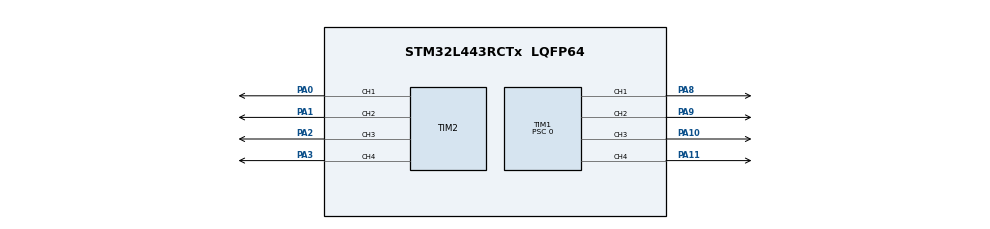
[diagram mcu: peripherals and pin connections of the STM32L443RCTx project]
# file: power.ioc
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Mcu.Family=STM32L4
Mcu.Name=STM32L443RCTx
Mcu.Package=LQFP64
NVIC.PriorityGroup=NVIC_PRIORITYGROUP_4
PA0.Signal=S_TIM2_CH1
PA1.Signal=S_TIM2_CH2
PA10.Signal=S_TIM1_CH3
PA11.Signal=S_TIM1_CH4
PA2.Signal=S_TIM2_CH3
PA3.Signal=S_TIM2_CH4
PA8.Signal=S_TIM1_CH1
PA9.Signal=S_TIM1_CH2
ProjectManager.HeapSize=0x200
ProjectManager.StackSize=0x400
ProjectManager.TargetToolchain=STM32CubeIDE
RCC.HSE_VALUE=8000000
RCC.HSI48_VALUE=48000000
RCC.HSI_VALUE=16000000
RCC.LSE_VALUE=32768
RCC.MSI_VALUE=4000000
RCC.VCOOutputFreq_Value=32000000
SH.S_TIM1_CH1.0=TIM1_CH1,PWM Generation1 CH1
SH.S_TIM1_CH2.0=TIM1_CH2,PWM Generation2 CH2
SH.S_TIM1_CH3.0=TIM1_CH3,PWM Generation3 CH3
SH.S_TIM1_CH4.0=TIM1_CH4,PWM Generation4 CH4
SH.S_TIM2_CH1.0=TIM2_CH1,PWM Generation1 CH1
SH.S_TIM2_CH2.0=TIM2_CH2,PWM Generation2 CH2
SH.S_TIM2_CH3.0=TIM2_CH3,PWM Generation3 CH3
SH.S_TIM2_CH4.0=TIM2_CH4,PWM Generation4 CH4
TIM1.Channel-PWM\ Generation1\ CH1=TIM_CHANNEL_1
TIM1.Channel-PWM\ Generation2\ CH2=TIM_CHANNEL_2
TIM1.Channel-PWM\ Generation3\ CH3=TIM_CHANNEL_3
TIM1.Channel-PWM\ Generation4\ CH4=TIM_CHANNEL_4
TIM1.Prescaler=0
TIM2.Channel-PWM\ Generation1\ CH1=TIM_CHANNEL_1
TIM2.Channel-PWM\ Generation2\ CH2=TIM_CHANNEL_2
TIM2.Channel-PWM\ Generation3\ CH3=TIM_CHANNEL_3
TIM2.Channel-PWM\ Generation4\ CH4=TIM_CHANNEL_4
VP_TIM1_VS_ClockSourceINT.Mode=Internal
VP_TIM2_VS_ClockSourceINT.Mode=Internal
board=custom

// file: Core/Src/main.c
/* USER CODE BEGIN Header */
/**
  ******************************************************************************
  * @file           : main.c
  * @brief          : Main program body
  ******************************************************************************
  * @attention
  *
  * Copyright (c) 2024 STMicroelectronics.
  * All rights reserved.
  *
  * This software is licensed under terms that can be found in the LICENSE file
  * in the root directory of this software component.
  * If no LICENSE file comes with this software, it is provided AS-IS.
  *
  ******************************************************************************
  */
/* USER CODE END Header */
#include "main.h"

TIM_HandleTypeDef htim1;
TIM_HandleTypeDef htim2;

void SystemClock_Config(void);
static void MX_GPIO_Init(void);
static void MX_TIM1_Init(void);
static void MX_TIM2_Init(void);

/* USER CODE BEGIN 0 */
#define PWM_NEUTRAL_US 1500

uint32_t PWM_CalculatePulseWidth(uint32_t timerPeriod, uint32_t pulseWidth_us, uint32_t timerClockFreq)
{
    uint32_t pwmValue = (pulseWidth_us * (timerPeriod + 1)) / (1000000 / timerClockFreq);
    return pwmValue;
}
/* USER CODE END 0 */

int main(void)
{

  /* MCU Configuration--------------------------------------------------------*/

  /* Reset of all peripherals, Initializes the Flash interface and the Systick. */
  HAL_Init();

  /* Configure the system clock */
  SystemClock_Config();

  /* Initialize all configured peripherals */
  MX_GPIO_Init();
  MX_TIM1_Init();
  MX_TIM2_Init();
  /* USER CODE BEGIN 2 */
  HAL_TIM_PWM_Start(&htim1, TIM_CHANNEL_1);
  HAL_TIM_PWM_Start(&htim1, TIM_CHANNEL_2);
  HAL_TIM_PWM_Start(&htim1, TIM_CHANNEL_3);
  HAL_TIM_PWM_Start(&htim1, TIM_CHANNEL_4);
  HAL_TIM_PWM_Start(&htim2, TIM_CHANNEL_1);
  HAL_TIM_PWM_Start(&htim2, TIM_CHANNEL_2);
  HAL_TIM_PWM_Start(&htim2, TIM_CHANNEL_3);
  HAL_TIM_PWM_Start(&htim2, TIM_CHANNEL_4);

  uint32_t pwmValue1 = PWM_CalculatePulseWidth(htim1.Init.Period, PWM_NEUTRAL_US, 1);
  uint32_t pwmValue2 = PWM_CalculatePulseWidth(htim1.Init.Period, PWM_NEUTRAL_US, 1);
  uint32_t pwmValue3 = PWM_CalculatePulseWidth(htim1.Init.Period, PWM_NEUTRAL_US, 1);
  uint32_t pwmValue4 = PWM_CalculatePulseWidth(htim1.Init.Period, PWM_NEUTRAL_US, 1);
  uint32_t pwmValue5 = PWM_CalculatePulseWidth(htim2.Init.Period, PWM_NEUTRAL_US, 1);
  uint32_t pwmValue6 = PWM_CalculatePulseWidth(htim2.Init.Period, PWM_NEUTRAL_US, 1);
  uint32_t pwmValue7 = PWM_CalculatePulseWidth(htim2.Init.Period, PWM_NEUTRAL_US, 1);
  uint32_t pwmValue8 = PWM_CalculatePulseWidth(htim2.Init.Period, PWM_NEUTRAL_US, 1);

  __HAL_TIM_SET_COMPARE(&htim1, TIM_CHANNEL_1, pwmValue1);
  __HAL_TIM_SET_COMPARE(&htim1, TIM_CHANNEL_2, pwmValue2);
  __HAL_TIM_SET_COMPARE(&htim1, TIM_CHANNEL_3, pwmValue3);
  __HAL_TIM_SET_COMPARE(&htim1, TIM_CHANNEL_4, pwmValue4);
  __HAL_TIM_SET_COMPARE(&htim2, TIM_CHANNEL_1, pwmValue5);
  __HAL_TIM_SET_COMPARE(&htim2, TIM_CHANNEL_2, pwmValue6);
  __HAL_TIM_SET_COMPARE(&htim2, TIM_CHANNEL_3, pwmValue7);
  __HAL_TIM_SET_COMPARE(&htim2, TIM_CHANNEL_4, pwmValue8);

  HAL_Delay(7000);
  /* USER CODE END 2 */

  /* Infinite loop */
  /* USER CODE BEGIN WHILE */
  while (1)
  {
	  pwmValue1 = PWM_CalculatePulseWidth(htim1.Init.Period, 1540, 1);
	  pwmValue2 = PWM_CalculatePulseWidth(htim1.Init.Period, 1540, 1);
	  pwmValue3 = PWM_CalculatePulseWidth(htim1.Init.Period, 1540, 1);
	  pwmValue4 = PWM_CalculatePulseWidth(htim1.Init.Period, 1540, 1);
	  pwmValue5 = PWM_CalculatePulseWidth(htim2.Init.Period, 1540, 1);
	  pwmValue6 = PWM_CalculatePulseWidth(htim2.Init.Period, 1540, 1);
	  pwmValue7 = PWM_CalculatePulseWidth(htim2.Init.Period, 1540, 1);
	  pwmValue8 = PWM_CalculatePulseWidth(htim2.Init.Period, 1540, 1);

	  __HAL_TIM_SET_COMPARE(&htim1, TIM_CHANNEL_1, pwmValue1);
	  __HAL_TIM_SET_COMPARE(&htim1, TIM_CHANNEL_2, pwmValue2);
	  __HAL_TIM_SET_COMPARE(&htim1, TIM_CHANNEL_3, pwmValue3);
	  __HAL_TIM_SET_COMPARE(&htim1, TIM_CHANNEL_4, pwmValue4);
	  __HAL_TIM_SET_COMPARE(&htim2, TIM_CHANNEL_1, pwmValue5);
	  __HAL_TIM_SET_COMPARE(&htim2, TIM_CHANNEL_2, pwmValue6);
	  __HAL_TIM_SET_COMPARE(&htim2, TIM_CHANNEL_3, pwmValue7);
	  __HAL_TIM_SET_COMPARE(&htim2, TIM_CHANNEL_4, pwmValue8);

	  HAL_Delay(1500);

	  pwmValue1 = PWM_CalculatePulseWidth(htim1.Init.Period, 1500, 1);
	  pwmValue2 = PWM_CalculatePulseWidth(htim1.Init.Period, 1500, 1);
	  pwmValue3 = PWM_CalculatePulseWidth(htim1.Init.Period, 1500, 1);
	  pwmValue4 = PWM_CalculatePulseWidth(htim1.Init.Period, 1500, 1);
	  pwmValue5 = PWM_CalculatePulseWidth(htim2.Init.Period, 1500, 1);
	  pwmValue6 = PWM_CalculatePulseWidth(htim2.Init.Period, 1500, 1);
	  pwmValue7 = PWM_CalculatePulseWidth(htim2.Init.Period, 1500, 1);
	  pwmValue8 = PWM_CalculatePulseWidth(htim2.Init.Period, 1500, 1);

	  __HAL_TIM_SET_COMPARE(&htim1, TIM_CHANNEL_1, pwmValue1);
	  __HAL_TIM_SET_COMPARE(&htim1, TIM_CHANNEL_2, pwmValue2);
	  __HAL_TIM_SET_COMPARE(&htim1, TIM_CHANNEL_3, pwmValue3);
	  __HAL_TIM_SET_COMPARE(&htim1, TIM_CHANNEL_4, pwmValue4);
	  __HAL_TIM_SET_COMPARE(&htim2, TIM_CHANNEL_1, pwmValue5);
	  __HAL_TIM_SET_COMPARE(&htim2, TIM_CHANNEL_2, pwmValue6);
	  __HAL_TIM_SET_COMPARE(&htim2, TIM_CHANNEL_3, pwmValue7);
	  __HAL_TIM_SET_COMPARE(&htim2, TIM_CHANNEL_4, pwmValue8);

	  HAL_Delay(1500);

	  pwmValue1 = PWM_CalculatePulseWidth(htim1.Init.Period, 1460, 1);
	  pwmValue2 = PWM_CalculatePulseWidth(htim1.Init.Period, 1460, 1);
	  pwmValue3 = PWM_CalculatePulseWidth(htim1.Init.Period, 1460, 1);
	  pwmValue4 = PWM_CalculatePulseWidth(htim1.Init.Period, 1460, 1);
	  pwmValue5 = PWM_CalculatePulseWidth(htim2.Init.Period, 1460, 1);
	  pwmValue6 = PWM_CalculatePulseWidth(htim2.Init.Period, 1460, 1);
	  pwmValue7 = PWM_CalculatePulseWidth(htim2.Init.Period, 1460, 1);
	  pwmValue8 = PWM_CalculatePulseWidth(htim2.Init.Period, 1460, 1);

	  __HAL_TIM_SET_COMPARE(&htim1, TIM_CHANNEL_1, pwmValue1);
	  __HAL_TIM_SET_COMPARE(&htim1, TIM_CHANNEL_2, pwmValue2);
	  __HAL_TIM_SET_COMPARE(&htim1, TIM_CHANNEL_3, pwmValue3);
	  __HAL_TIM_SET_COMPARE(&htim1, TIM_CHANNEL_4, pwmValue4);
	  __HAL_TIM_SET_COMPARE(&htim2, TIM_CHANNEL_1, pwmValue5);
	  __HAL_TIM_SET_COMPARE(&htim2, TIM_CHANNEL_2, pwmValue6);
	  __HAL_TIM_SET_COMPARE(&htim2, TIM_CHANNEL_3, pwmValue7);
	  __HAL_TIM_SET_COMPARE(&htim2, TIM_CHANNEL_4, pwmValue8);

	  HAL_Delay(1500);

	  pwmValue1 = PWM_CalculatePulseWidth(htim1.Init.Period, 1500, 1);
	  pwmValue2 = PWM_CalculatePulseWidth(htim1.Init.Period, 1500, 1);
	  pwmValue3 = PWM_CalculatePulseWidth(htim1.Init.Period, 1500, 1);
	  pwmValue4 = PWM_CalculatePulseWidth(htim1.Init.Period, 1500, 1);
	  pwmValue5 = PWM_CalculatePulseWidth(htim2.Init.Period, 1500, 1);
	  pwmValue6 = PWM_CalculatePulseWidth(htim2.Init.Period, 1500, 1);
	  pwmValue7 = PWM_CalculatePulseWidth(htim2.Init.Period, 1500, 1);
	  pwmValue8 = PWM_CalculatePulseWidth(htim2.Init.Period, 1500, 1);

	  __HAL_TIM_SET_COMPARE(&htim1, TIM_CHANNEL_1, pwmValue1);
	  __HAL_TIM_SET_COMPARE(&htim1, TIM_CHANNEL_2, pwmValue2);
	  __HAL_TIM_SET_COMPARE(&htim1, TIM_CHANNEL_3, pwmValue3);
	  __HAL_TIM_SET_COMPARE(&htim1, TIM_CHANNEL_4, pwmValue4);
	  __HAL_TIM_SET_COMPARE(&htim2, TIM_CHANNEL_1, pwmValue5);
	  __HAL_TIM_SET_COMPARE(&htim2, TIM_CHANNEL_2, pwmValue6);
	  __HAL_TIM_SET_COMPARE(&htim2, TIM_CHANNEL_3, pwmValue7);
	  __HAL_TIM_SET_COMPARE(&htim2, TIM_CHANNEL_4, pwmValue8);

	  HAL_Delay(1500);
    /* USER CODE END WHILE */

  }
}

void SystemClock_Config(void)
{
  RCC_OscInitTypeDef RCC_OscInitStruct = {0};
  RCC_ClkInitTypeDef RCC_ClkInitStruct = {0};

  /** Configure the main internal regulator output voltage
  */
  if (HAL_PWREx_ControlVoltageScaling(PWR_REGULATOR_VOLTAGE_SCALE1) != HAL_OK)
  {
    Error_Handler();
  }

  /** Initializes the RCC Oscillators according to the specified parameters
  * in the RCC_OscInitTypeDef structure.
  */
  RCC_OscInitStruct.OscillatorType = RCC_OSCILLATORTYPE_MSI;
  RCC_OscInitStruct.MSIState = RCC_MSI_ON;
  RCC_OscInitStruct.MSICalibrationValue = 0;
  RCC_OscInitStruct.MSIClockRange = RCC_MSIRANGE_6;
  RCC_OscInitStruct.PLL.PLLState = RCC_PLL_NONE;
  if (HAL_RCC_OscConfig(&RCC_OscInitStruct) != HAL_OK)
  {
    Error_Handler();
  }

  /** Initializes the CPU, AHB and APB buses clocks
  */
  RCC_ClkInitStruct.ClockType = RCC_CLOCKTYPE_HCLK|RCC_CLOCKTYPE_SYSCLK
                              |RCC_CLOCKTYPE_PCLK1|RCC_CLOCKTYPE_PCLK2;
  RCC_ClkInitStruct.SYSCLKSource = RCC_SYSCLKSOURCE_MSI;
  RCC_ClkInitStruct.AHBCLKDivider = RCC_SYSCLK_DIV1;
  RCC_ClkInitStruct.APB1CLKDivider = RCC_HCLK_DIV1;
  RCC_ClkInitStruct.APB2CLKDivider = RCC_HCLK_DIV1;

  if (HAL_RCC_ClockConfig(&RCC_ClkInitStruct, FLASH_LATENCY_0) != HAL_OK)
  {
    Error_Handler();
  }
}

static void MX_TIM1_Init(void)
{

  TIM_ClockConfigTypeDef sClockSourceConfig = {0};
  TIM_MasterConfigTypeDef sMasterConfig = {0};
  TIM_OC_InitTypeDef sConfigOC = {0};
  TIM_BreakDeadTimeConfigTypeDef sBreakDeadTimeConfig = {0};

  htim1.Instance = TIM1;
  htim1.Init.Prescaler = 0;
  htim1.Init.CounterMode = TIM_COUNTERMODE_UP;
  htim1.Init.Period = 65535;
  htim1.Init.ClockDivision = TIM_CLOCKDIVISION_DIV1;
  htim1.Init.RepetitionCounter = 0;
  htim1.Init.AutoReloadPreload = TIM_AUTORELOAD_PRELOAD_DISABLE;
  if (HAL_TIM_Base_Init(&htim1) != HAL_OK)
  {
    Error_Handler();
  }
  sClockSourceConfig.ClockSource = TIM_CLOCKSOURCE_INTERNAL;
  if (HAL_TIM_ConfigClockSource(&htim1, &sClockSourceConfig) != HAL_OK)
  {
    Error_Handler();
  }
  if (HAL_TIM_PWM_Init(&htim1) != HAL_OK)
  {
    Error_Handler();
  }
  sMasterConfig.MasterOutputTrigger = TIM_TRGO_RESET;
  sMasterConfig.MasterOutputTrigger2 = TIM_TRGO2_RESET;
  sMasterConfig.MasterSlaveMode = TIM_MASTERSLAVEMODE_DISABLE;
  if (HAL_TIMEx_MasterConfigSynchronization(&htim1, &sMasterConfig) != HAL_OK)
  {
    Error_Handler();
  }
  sConfigOC.OCMode = TIM_OCMODE_PWM1;
  sConfigOC.Pulse = 0;
  sConfigOC.OCPolarity = TIM_OCPOLARITY_HIGH;
  sConfigOC.OCNPolarity = TIM_OCNPOLARITY_HIGH;
  sConfigOC.OCFastMode = TIM_OCFAST_DISABLE;
  sConfigOC.OCIdleState = TIM_OCIDLESTATE_RESET;
  sConfigOC.OCNIdleState = TIM_OCNIDLESTATE_RESET;
  if (HAL_TIM_PWM_ConfigChannel(&htim1, &sConfigOC, TIM_CHANNEL_1) != HAL_OK)
  {
    Error_Handler();
  }
  if (HAL_TIM_PWM_ConfigChannel(&htim1, &sConfigOC, TIM_CHANNEL_2) != HAL_OK)
  {
    Error_Handler();
  }
  if (HAL_TIM_PWM_ConfigChannel(&htim1, &sConfigOC, TIM_CHANNEL_3) != HAL_OK)
  {
    Error_Handler();
  }
  if (HAL_TIM_PWM_ConfigChannel(&htim1, &sConfigOC, TIM_CHANNEL_4) != HAL_OK)
  {
    Error_Handler();
  }
  sBreakDeadTimeConfig.OffStateRunMode = TIM_OSSR_DISABLE;
  sBreakDeadTimeConfig.OffStateIDLEMode = TIM_OSSI_DISABLE;
  sBreakDeadTimeConfig.LockLevel = TIM_LOCKLEVEL_OFF;
  sBreakDeadTimeConfig.DeadTime = 0;
  sBreakDeadTimeConfig.BreakState = TIM_BREAK_DISABLE;
  sBreakDeadTimeConfig.BreakPolarity = TIM_BREAKPOLARITY_HIGH;
  sBreakDeadTimeConfig.BreakFilter = 0;
  sBreakDeadTimeConfig.Break2State = TIM_BREAK2_DISABLE;
  sBreakDeadTimeConfig.Break2Polarity = TIM_BREAK2POLARITY_HIGH;
  sBreakDeadTimeConfig.Break2Filter = 0;
  sBreakDeadTimeConfig.AutomaticOutput = TIM_AUTOMATICOUTPUT_DISABLE;
  if (HAL_TIMEx_ConfigBreakDeadTime(&htim1, &sBreakDeadTimeConfig) != HAL_OK)
  {
    Error_Handler();
  }
  HAL_TIM_MspPostInit(&htim1);

}

static void MX_TIM2_Init(void)
{

  TIM_ClockConfigTypeDef sClockSourceConfig = {0};
  TIM_MasterConfigTypeDef sMasterConfig = {0};
  TIM_OC_InitTypeDef sConfigOC = {0};

  htim2.Instance = TIM2;
  htim2.Init.Prescaler = 0;
  htim2.Init.CounterMode = TIM_COUNTERMODE_UP;
  htim2.Init.Period = 4294967295;
  htim2.Init.ClockDivision = TIM_CLOCKDIVISION_DIV1;
  htim2.Init.AutoReloadPreload = TIM_AUTORELOAD_PRELOAD_DISABLE;
  if (HAL_TIM_Base_Init(&htim2) != HAL_OK)
  {
    Error_Handler();
  }
  sClockSourceConfig.ClockSource = TIM_CLOCKSOURCE_INTERNAL;
  if (HAL_TIM_ConfigClockSource(&htim2, &sClockSourceConfig) != HAL_OK)
  {
    Error_Handler();
  }
  if (HAL_TIM_PWM_Init(&htim2) != HAL_OK)
  {
    Error_Handler();
  }
  sMasterConfig.MasterOutputTrigger = TIM_TRGO_RESET;
  sMasterConfig.MasterSlaveMode = TIM_MASTERSLAVEMODE_DISABLE;
  if (HAL_TIMEx_MasterConfigSynchronization(&htim2, &sMasterConfig) != HAL_OK)
  {
    Error_Handler();
  }
  sConfigOC.OCMode = TIM_OCMODE_PWM1;
  sConfigOC.Pulse = 0;
  sConfigOC.OCPolarity = TIM_OCPOLARITY_HIGH;
  sConfigOC.OCFastMode = TIM_OCFAST_DISABLE;
  if (HAL_TIM_PWM_ConfigChannel(&htim2, &sConfigOC, TIM_CHANNEL_1) != HAL_OK)
  {
    Error_Handler();
  }
  if (HAL_TIM_PWM_ConfigChannel(&htim2, &sConfigOC, TIM_CHANNEL_2) != HAL_OK)
  {
    Error_Handler();
  }
  if (HAL_TIM_PWM_ConfigChannel(&htim2, &sConfigOC, TIM_CHANNEL_3) != HAL_OK)
  {
    Error_Handler();
  }
  if (HAL_TIM_PWM_ConfigChannel(&htim2, &sConfigOC, TIM_CHANNEL_4) != HAL_OK)
  {
    Error_Handler();
  }
  HAL_TIM_MspPostInit(&htim2);

}

static void MX_GPIO_Init(void)
{

  /* GPIO Ports Clock Enable */
  __HAL_RCC_GPIOA_CLK_ENABLE();

}

void Error_Handler(void)
{
  __disable_irq();
  while (1)
  {
  }
}
